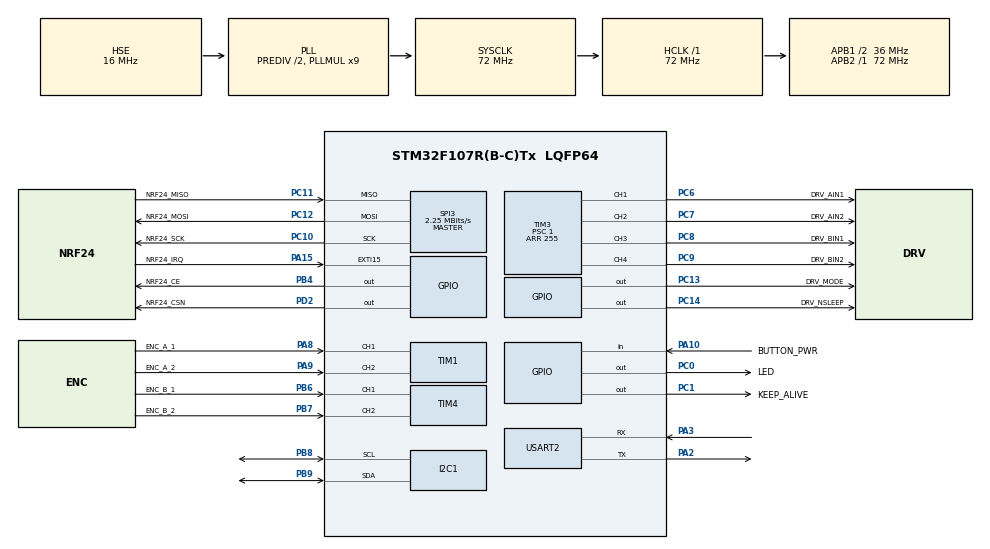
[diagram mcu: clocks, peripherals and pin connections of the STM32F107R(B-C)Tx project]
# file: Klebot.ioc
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FREERTOS.Tasks01=defaultTask,24,128,StartDefaultTask,Default,NULL,Dynamic,NULL,NULL
I2C1.I2C_Mode=I2C_Fast
Mcu.Family=STM32F1
Mcu.Name=STM32F107R(B-C)Tx
Mcu.Package=LQFP64
NVIC.EXTI15_10_IRQn=true\:5\:0\:false\:false\:true\:true\:true\:true\:true
NVIC.PriorityGroup=NVIC_PRIORITYGROUP_4
NVIC.TIM6_IRQn=true\:15\:0\:false\:false\:true\:false\:false\:true\:true
NVIC.TIM7_IRQn=true\:5\:0\:false\:false\:true\:true\:true\:true\:true
NVIC.TimeBase=TIM6_IRQn
NVIC.TimeBaseIP=TIM6
PA10.GPIO_Label=BUTTON_PWR
PA10.Signal=GPIO_Input
PA13.Mode=Trace_Asynchronous_SW
PA13.Signal=SYS_JTMS-SWDIO
PA14.Mode=Trace_Asynchronous_SW
PA14.Signal=SYS_JTCK-SWCLK
PA15.GPIO_Label=NRF24_IRQ
PA15.GPIO_ModeDefaultEXTI=GPIO_MODE_IT_FALLING
PA15.Signal=GPXTI15
PA2.Mode=Asynchronous
PA2.Signal=USART2_TX
PA3.Mode=Asynchronous
PA3.Signal=USART2_RX
PA8.GPIO_Label=ENC_A_1
PA8.Signal=S_TIM1_CH1
PA9.GPIO_Label=ENC_A_2
PA9.Signal=S_TIM1_CH2
PB3.Mode=Trace_Asynchronous_SW
PB3.Signal=SYS_TRACESWO
PB4.GPIO_Label=NRF24_CE
PB4.Signal=GPIO_Output
PB6.GPIO_Label=ENC_B_1
PB6.Signal=S_TIM4_CH1
PB7.GPIO_Label=ENC_B_2
PB7.Signal=S_TIM4_CH2
PB8.Mode=I2C
PB8.Signal=I2C1_SCL
PB9.Mode=I2C
PB9.Signal=I2C1_SDA
PC0.GPIO_Label=LED
PC0.GPIO_Speed=GPIO_SPEED_FREQ_HIGH
PC0.Signal=GPIO_Output
PC1.GPIO_Label=KEEP_ALIVE
PC1.Signal=GPIO_Output
PC10.GPIO_Label=NRF24_SCK
PC10.Mode=Full_Duplex_Master
PC10.Signal=SPI3_SCK
PC11.GPIO_Label=NRF24_MISO
PC11.Mode=Full_Duplex_Master
PC11.Signal=SPI3_MISO
PC12.GPIO_Label=NRF24_MOSI
PC12.Mode=Full_Duplex_Master
PC12.Signal=SPI3_MOSI
PC13-TAMPER-RTC.GPIO_Label=DRV_MODE
PC13-TAMPER-RTC.Signal=GPIO_Output
PC14-OSC32_IN.GPIO_Label=DRV_NSLEEP
PC14-OSC32_IN.Signal=GPIO_Output
PC6.GPIO_Label=DRV_AIN1
PC6.GPIO_Speed=GPIO_SPEED_FREQ_HIGH
PC6.Signal=S_TIM3_CH1
PC7.GPIO_Label=DRV_AIN2
PC7.GPIO_Speed=GPIO_SPEED_FREQ_HIGH
PC7.Signal=S_TIM3_CH2
PC8.GPIO_Label=DRV_BIN1
PC8.GPIO_Speed=GPIO_SPEED_FREQ_HIGH
PC8.Signal=S_TIM3_CH3
PC9.GPIO_Label=DRV_BIN2
PC9.GPIO_Speed=GPIO_SPEED_FREQ_HIGH
PC9.Signal=S_TIM3_CH4
PD0-OSC_IN.Mode=HSE-External-Oscillator
PD0-OSC_IN.Signal=RCC_OSC_IN
PD1-OSC_OUT.Mode=HSE-External-Oscillator
PD1-OSC_OUT.Signal=RCC_OSC_OUT
PD2.GPIO_Label=NRF24_CSN
PD2.Signal=GPIO_Output
ProjectManager.HeapSize=0x800
ProjectManager.StackSize=0x1000
ProjectManager.TargetToolchain=STM32CubeIDE
RCC.AHBFreq_Value=72000000
RCC.APB1CLKDivider=RCC_HCLK_DIV2
RCC.APB1Freq_Value=36000000
RCC.APB1TimFreq_Value=72000000
RCC.APB2Freq_Value=72000000
RCC.APB2TimFreq_Value=72000000
RCC.HCLKFreq_Value=72000000
RCC.HSEDivPLL=RCC_HSE_PREDIV_DIV2
RCC.HSE_VALUE=16000000
RCC.PLLMUL=RCC_PLL_MUL9
RCC.PLLSourceVirtual=RCC_PLLSOURCE_HSE
RCC.SYSCLKFreq_VALUE=72000000
RCC.SYSCLKSource=RCC_SYSCLKSOURCE_PLLCLK
RCC.USBFreq_Value=48000000
SH.S_TIM1_CH1.0=TIM1_CH1,Encoder_Interface
SH.S_TIM1_CH2.0=TIM1_CH2,Encoder_Interface
SH.S_TIM3_CH1.0=TIM3_CH1,PWM Generation1 CH1
SH.S_TIM3_CH2.0=TIM3_CH2,PWM Generation2 CH2
SH.S_TIM3_CH3.0=TIM3_CH3,PWM Generation3 CH3
SH.S_TIM3_CH4.0=TIM3_CH4,PWM Generation4 CH4
SH.S_TIM4_CH1.0=TIM4_CH1,Encoder_Interface
SH.S_TIM4_CH2.0=TIM4_CH2,Encoder_Interface
SPI3.BaudRatePrescaler=SPI_BAUDRATEPRESCALER_16
SPI3.CalculateBaudRate=2.25 MBits/s
SPI3.Direction=SPI_DIRECTION_2LINES
SPI3.Mode=SPI_MODE_MASTER
SPI3.VirtualType=VM_MASTER
TIM1.EncoderMode=TIM_ENCODERMODE_TI12
TIM1.IC1Filter=0
TIM1.IC1Polarity=TIM_ICPOLARITY_RISING
TIM1.IC1Prescaler=TIM_ICPSC_DIV1
TIM1.IC2Filter=0
TIM1.IC2Polarity=TIM_ICPOLARITY_RISING
TIM3.Channel-PWM\ Generation1\ CH1=TIM_CHANNEL_1
TIM3.Channel-PWM\ Generation2\ CH2=TIM_CHANNEL_2
TIM3.Channel-PWM\ Generation3\ CH3=TIM_CHANNEL_3
TIM3.Channel-PWM\ Generation4\ CH4=TIM_CHANNEL_4
TIM3.OCFastMode_PWM-PWM\ Generation1\ CH1=TIM_OCFAST_ENABLE
TIM3.OCFastMode_PWM-PWM\ Generation2\ CH2=TIM_OCFAST_ENABLE
TIM3.OCFastMode_PWM-PWM\ Generation3\ CH3=TIM_OCFAST_ENABLE
TIM3.OCFastMode_PWM-PWM\ Generation4\ CH4=TIM_OCFAST_ENABLE
TIM3.Period=255
TIM3.Prescaler=1
TIM4.EncoderMode=TIM_ENCODERMODE_TI12
TIM4.IC1Polarity=TIM_ICPOLARITY_FALLING
TIM4.IC2Polarity=TIM_ICPOLARITY_FALLING
TIM7.Period=9999
TIM7.Prescaler=71
USART2.VirtualMode=VM_ASYNC
VP_FREERTOS_VS_CMSIS_V2.Mode=CMSIS_V2
VP_SYS_VS_tim6.Mode=TIM6
VP_TIM3_VS_ClockSourceINT.Mode=Internal
VP_TIM7_VS_ClockSourceINT.Mode=Enable_Timer
board=custom

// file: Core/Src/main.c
/* USER CODE BEGIN Header */
/**
  ******************************************************************************
  * @file           : main.c
  * @brief          : Main program body
  ******************************************************************************
  * @attention
  *
  * Copyright (c) 2023 STMicroelectronics.
  * All rights reserved.
  *
  * This software is licensed under terms that can be found in the LICENSE file
  * in the root directory of this software component.
  * If no LICENSE file comes with this software, it is provided AS-IS.
  *
  ******************************************************************************
  */
/* USER CODE END Header */
#include "main.h"
#include "i2c.h"
#include "spi.h"
#include "tim.h"
#include "usart.h"
#include "gpio.h"

/* USER CODE BEGIN Includes */

/* FREE RTOS */
#include "FreeRTOS.h"
#include "task.h"
#include "timers.h"
#include "queue.h"
#include "semphr.h"
#include "event_groups.h"
/* Tasks */
#include "onboard_diode_task.h"
#include "radio_task.h"
#include "parser_task.h"
#include "Programs/klebot_programs.h"

#include "motors.h"

#include "stdio.h"
#include "string.h"
/* USER CODE END Includes */

void SystemClock_Config(void);
void MX_FREERTOS_Init(void);
/* USER CODE BEGIN PFP */
int8_t GetEncoderCount(void);
/* USER CODE END PFP */

int main(void)
{

  /* MCU Configuration--------------------------------------------------------*/

  /* Reset of all peripherals, Initializes the Flash interface and the Systick. */
  HAL_Init();

  /* Configure the system clock */
  SystemClock_Config();

  /* Initialize all configured peripherals */
  MX_GPIO_Init();
  MX_I2C1_Init();
  MX_SPI3_Init();
  MX_TIM1_Init();
  MX_TIM3_Init();
  MX_TIM4_Init();
  MX_TIM7_Init();
  MX_USART2_UART_Init();
  /* USER CODE BEGIN 2 */
  HAL_GPIO_WritePin(DRV_NSLEEP_GPIO_Port, DRV_NSLEEP_Pin, GPIO_PIN_SET);
  HAL_GPIO_WritePin(DRV_MODE_GPIO_Port, DRV_MODE_Pin, GPIO_PIN_RESET);

  Motors_Init();

  Parser_TaskInit();
  Radio_TaskInit();
  Programs_TaskInit();

  xTaskCreate(vTaskOnboardDiode, "PCB Diode Task", 128, NULL, 1, NULL);

  vTaskStartScheduler();
  /* USER CODE END 2 */

  /* We should never get here as control is now taken by the scheduler */
  /* Infinite loop */
  /* USER CODE BEGIN WHILE */
  while (1)
  {
	  //KlebotScheduler();

    /* USER CODE END WHILE */

  }
}

void SystemClock_Config(void)
{
  RCC_OscInitTypeDef RCC_OscInitStruct = {0};
  RCC_ClkInitTypeDef RCC_ClkInitStruct = {0};

  /** Initializes the RCC Oscillators according to the specified parameters
  * in the RCC_OscInitTypeDef structure.
  */
  RCC_OscInitStruct.OscillatorType = RCC_OSCILLATORTYPE_HSE;
  RCC_OscInitStruct.HSEState = RCC_HSE_ON;
  RCC_OscInitStruct.HSEPredivValue = RCC_HSE_PREDIV_DIV2;
  RCC_OscInitStruct.HSIState = RCC_HSI_ON;
  RCC_OscInitStruct.Prediv1Source = RCC_PREDIV1_SOURCE_HSE;
  RCC_OscInitStruct.PLL.PLLState = RCC_PLL_ON;
  RCC_OscInitStruct.PLL.PLLSource = RCC_PLLSOURCE_HSE;
  RCC_OscInitStruct.PLL.PLLMUL = RCC_PLL_MUL9;
  RCC_OscInitStruct.PLL2.PLL2State = RCC_PLL_NONE;
  if (HAL_RCC_OscConfig(&RCC_OscInitStruct) != HAL_OK)
  {
    Error_Handler();
  }

  /** Initializes the CPU, AHB and APB buses clocks
  */
  RCC_ClkInitStruct.ClockType = RCC_CLOCKTYPE_HCLK|RCC_CLOCKTYPE_SYSCLK
                              |RCC_CLOCKTYPE_PCLK1|RCC_CLOCKTYPE_PCLK2;
  RCC_ClkInitStruct.SYSCLKSource = RCC_SYSCLKSOURCE_PLLCLK;
  RCC_ClkInitStruct.AHBCLKDivider = RCC_SYSCLK_DIV1;
  RCC_ClkInitStruct.APB1CLKDivider = RCC_HCLK_DIV2;
  RCC_ClkInitStruct.APB2CLKDivider = RCC_HCLK_DIV1;

  if (HAL_RCC_ClockConfig(&RCC_ClkInitStruct, FLASH_LATENCY_2) != HAL_OK)
  {
    Error_Handler();
  }

  /** Configure the Systick interrupt time
  */
  __HAL_RCC_PLLI2S_ENABLE();
}

/* USER CODE BEGIN 4 */

int __io_putchar(int ch)
{
	ITM_SendChar(ch);

	return ch;
}

void HAL_GPIO_EXTI_Callback(uint16_t GPIO_Pin)
{
	if(GPIO_Pin == NRF24_IRQ_Pin)
	{
		Radio_HandlerIRQ();

	}
}
/* USER CODE END 4 */

void HAL_TIM_PeriodElapsedCallback(TIM_HandleTypeDef *htim)
{
  if (htim->Instance == TIM6) {
    HAL_IncTick();
  }
  /* USER CODE BEGIN Callback 1 */
  else if(htim->Instance == TIM7)
  {
	  /* Encoder sampling */
	  Motors_EncoderSample();
  }
  /* USER CODE END Callback 1 */
}

void Error_Handler(void)
{
  __disable_irq();
  while (1)
  {
  }
}
